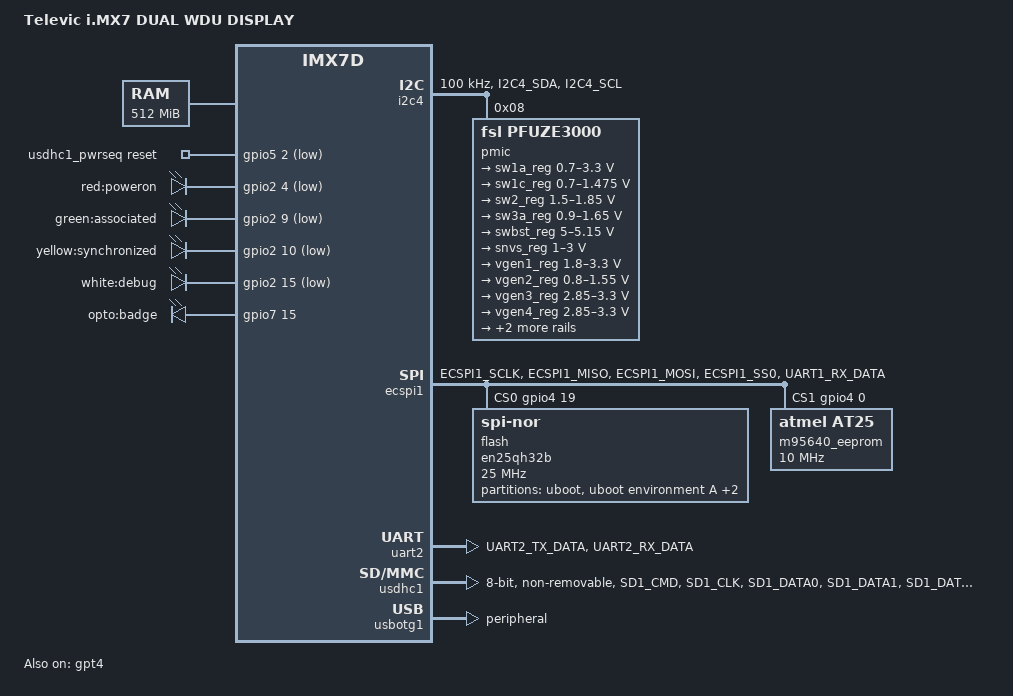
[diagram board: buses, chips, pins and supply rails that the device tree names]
// SPDX-License-Identifier: GPL-2.0+ OR MIT
//
// Copyright (C) 2015 Freescale Semiconductor, Inc.

/dts-v1/;

#include "imx7d.dtsi"
#include <dt-bindings/input/ti-drv260x.h>

/ {
	model = "Televic i.MX7 DUAL WDU DISPLAY";
	compatible = "fsl,imx7d";

	chosen {
		stdout-path = &uart2;
	};

	memory: memory@80000000 {
		reg = <0x80000000 0x20000000>;
	};

	reserved-memory {
		#address-cells = <1>;
		#size-cells = <1>;
		ranges;

		linux,cma {
			compatible = "shared-dma-pool";
			reusable;
			size = <0x04000000>;  /* 64 MB */
			linux,cma-default;
		};
	};

	usdhc1_pwrseq: pwrseq@0 {
		compatible = "mmc-pwrseq-emmc";
		pinctrl-names = "default";
		pinctrl-0 = <&pinctrl_usdhc1_pwrseq>;
		reset-gpios = <&gpio5 2 GPIO_ACTIVE_LOW>;
	};

	gpio-leds {
		compatible = "gpio-leds";
		pinctrl-names = "default";
		pinctrl-0 = <&pinctrl_gpio_leds>;

		led-poweron {
			label = "red:poweron";
			default-state = "on";
			gpios = <&gpio2 4 GPIO_ACTIVE_LOW>;
		};
		led-associated {
			label = "green:associated";
			default-state = "off";
			gpios = <&gpio2 9 GPIO_ACTIVE_LOW>;
		};
		led-synchronized {
			label = "yellow:synchronized";
			default-state = "off";
			gpios = <&gpio2 10 GPIO_ACTIVE_LOW>;
		};
		led-debug {
			label = "white:debug";
			default-state = "off";
			gpios = <&gpio2 15 GPIO_ACTIVE_LOW>;
		};
		led-badge {
			label = "opto:badge";
			default-state = "off";
			gpios = <&gpio7 15 GPIO_ACTIVE_HIGH>;
		};
	};
};

&cpu0 {
	cpu-supply = <&sw1a_reg>;
};

&sdma {
	status = "okay";
};

&i2c4 {
	clock-frequency = <100000>;
	pinctrl-names = "default";
	pinctrl-0 = <&pinctrl_i2c4>;
	status = "okay";

	pmic: pfuze3000@8 {
		compatible = "fsl,pfuze3000";
		reg = <0x8>;

		regulators {
			sw1a_reg: sw1a {
				regulator-min-microvolt = <700000>;
				regulator-max-microvolt = <3300000>;
				regulator-boot-on;
				regulator-always-on;
				regulator-ramp-delay = <6250>;
			};

			/* use sw1c_reg to align with pfuze100/pfuze200 */
			sw1c_reg: sw1b {
				regulator-min-microvolt = <700000>;
				regulator-max-microvolt = <1475000>;
				regulator-boot-on;
				regulator-always-on;
				regulator-ramp-delay = <6250>;
			};

			sw2_reg: sw2 {
				regulator-min-microvolt = <1500000>;
				regulator-max-microvolt = <1850000>;
				regulator-boot-on;
				regulator-always-on;
			};

			sw3a_reg: sw3 {
				regulator-min-microvolt = <900000>;
				regulator-max-microvolt = <1650000>;
				regulator-boot-on;
				regulator-always-on;
			};

			swbst_reg: swbst {
				regulator-min-microvolt = <5000000>;
				regulator-max-microvolt = <5150000>;
			};

			snvs_reg: vsnvs {
				regulator-min-microvolt = <1000000>;
				regulator-max-microvolt = <3000000>;
				regulator-boot-on;
				regulator-always-on;
			};

			vref_reg: vrefddr {
				regulator-boot-on;
				regulator-always-on;
			};

			vgen1_reg: vldo1 {
				regulator-min-microvolt = <1800000>;
				regulator-max-microvolt = <3300000>;
				regulator-always-on;
			};

			vgen2_reg: vldo2 {
				regulator-min-microvolt = <800000>;
				regulator-max-microvolt = <1550000>;
			};

			vgen3_reg: vccsd {
				regulator-min-microvolt = <2850000>;
				regulator-max-microvolt = <3300000>;
				regulator-always-on;
			};

			vgen4_reg: v33 {
				regulator-min-microvolt = <2850000>;
				regulator-max-microvolt = <3300000>;
				regulator-always-on;
			};

			vgen5_reg: vldo3 {
				regulator-min-microvolt = <1800000>;
				regulator-max-microvolt = <3300000>;
			};

			vgen6_reg: vldo4 {
				regulator-min-microvolt = <2800000>;
				regulator-max-microvolt = <2800000>;
			};
		};
	};
};

&ecspi1 {
	pinctrl-names = "default";
	pinctrl-0 = <&pinctrl_ecspi1 &pinctrl_ecspi1_cs>;
	cs-gpios = <&gpio4 19 GPIO_ACTIVE_HIGH>, <&gpio4 0 GPIO_ACTIVE_HIGH>;
	status = "okay";

	flash: en25qh32b@0 {
		#address-cells = <1>;
		#size-cells = <1>;
		reg = <0>;
		compatible = "jedec,spi-nor";
		spi-max-frequency = <25000000>;

		partition@0 {
			label = "uboot";
			reg = <0x0 0x60000>;
		};

		partition@60000 {
			label = "uboot environment A";
			reg = <0x60000 0x10000>;
		};

		partition@70000 {
			label = "uboot environment B";
			reg = <0x70000 0x10000>;
		};

		partition@80000 {
			label = "linux golden";
			reg = <0x80000 0x380000>;
		};
	};

	m95640_eeprom: at25@1 {
		compatible = "atmel,at25", "st,m95256";
		reg = <1>;
		spi-max-frequency = <10000000>;
		address-width = <16>;
		size = <0x2000>; /* 64 kbit = 8kbyte */
		pagesize = <32>;
	};
};

&uart2 {
	pinctrl-names = "default";
	pinctrl-0 = <&pinctrl_uart2>;
	assigned-clocks = <&clks IMX7D_UART2_ROOT_SRC>;
	assigned-clock-parents = <&clks IMX7D_OSC_24M_CLK>;
	status = "okay";
};

&usdhc1 {
	pinctrl-names = "default";
	pinctrl-0 = <&pinctrl_usdhc1_8bit>;
	bus-width = <8>;
	non-removable;
	mmc-pwrseq = <&usdhc1_pwrseq>;
	status = "okay";
};

&usbotg1 {
	dr_mode = "peripheral";
	srp-disable;
	hnp-disable;
	adp-disable;
	status = "okay";
};

&iomuxc {
	imx7d-sdb {
		pinctrl_gpio_leds: gpioledgrp {
			fsl,pins = <
				MX7D_PAD_EPDC_DATA04__GPIO2_IO4		0x04    /* LED Red    */
				MX7D_PAD_EPDC_DATA09__GPIO2_IO9		0x04    /* LED Green  */
				MX7D_PAD_EPDC_DATA10__GPIO2_IO10	0x04    /* LED Yellow */
				MX7D_PAD_EPDC_DATA15__GPIO2_IO15	0x04    /* LED White  */
				MX7D_PAD_ENET1_COL__GPIO7_IO15		0x00    /* LED Opto Badge */
			>;
		};

		pinctrl_i2c4: i2c4grp {
			fsl,pins = <
				MX7D_PAD_I2C4_SDA__I2C4_SDA		0x4000007f
				MX7D_PAD_I2C4_SCL__I2C4_SCL		0x4000007f
			>;
		};

		pinctrl_ecspi1: ecspi1grp-1 {
			fsl,pins = <
				MX7D_PAD_ECSPI1_SCLK__ECSPI1_SCLK	0x02
				MX7D_PAD_ECSPI1_MISO__ECSPI1_MISO	0x02
				MX7D_PAD_ECSPI1_MOSI__ECSPI1_MOSI	0x02
			>;
		};

		pinctrl_ecspi1_cs: ecspi1_cs_grp-1 {
			fsl,pins = <
				MX7D_PAD_ECSPI1_SS0__GPIO4_IO19		0x80000000
				MX7D_PAD_UART1_RX_DATA__GPIO4_IO0	0x80000000
			>;
		};

		pinctrl_uart2: uart2grp {
			fsl,pins = <
				MX7D_PAD_UART2_TX_DATA__UART2_DCE_TX	0x79
				MX7D_PAD_UART2_RX_DATA__UART2_DCE_RX	0x79
			>;
		};

		pinctrl_usdhc1_8bit: usdhc1grp_8bit {
			fsl,pins = <
				MX7D_PAD_SD1_CMD__SD1_CMD		0x59
				MX7D_PAD_SD1_CLK__SD1_CLK		0x19
				MX7D_PAD_SD1_DATA0__SD1_DATA0		0x59
				MX7D_PAD_SD1_DATA1__SD1_DATA1		0x59
				MX7D_PAD_SD1_DATA2__SD1_DATA2		0x59
				MX7D_PAD_SD1_DATA3__SD1_DATA3		0x59
				MX7D_PAD_ECSPI2_SCLK__SD1_DATA4		0x59
				MX7D_PAD_ECSPI2_MOSI__SD1_DATA5		0x59
				MX7D_PAD_ECSPI2_MISO__SD1_DATA6		0x59
				MX7D_PAD_ECSPI2_SS0__SD1_DATA7		0x59
			>;
		};

		pinctrl_usdhc1_pwrseq: usdhc1_pwrseq {
			fsl,pins = <
				MX7D_PAD_SD1_RESET_B__GPIO5_IO2		0x59 /* EMMC_nRST */
			>;
		};

		pinctrl_gpt4: gpt4grp {
			fsl,pins = <
				MX7D_PAD_SD2_DATA2__GPT4_COMPARE2	0x02
				MX7D_PAD_EPDC_DATA02__GPIO2_IO2		0x02
				MX7D_PAD_EPDC_DATA03__GPIO2_IO3		0x02
			>;
		};
	};
};

&clks {
	assigned-clocks = <&clks IMX7D_PLL_AUDIO_POST_DIV>;
	assigned-clock-rates = <864000000>;
};

&gpt4 {
	compatible = "g4-timer-main";
	pinctrl-names = "default";
	pinctrl-0 = <&pinctrl_gpt4>;
	assigned-clocks = <&clks IMX7D_GPT4_ROOT_SRC>, <&clks IMX7D_GPT4_ROOT_CLK>;
	assigned-clock-parents = <&clks IMX7D_PLL_AUDIO_POST_DIV>;
	assigned-clock-rates = <0>, <12000000>;
	irq-gpio = <&gpio2 2 GPIO_ACTIVE_HIGH>;
	tasklet-gpio = <&gpio2 3 GPIO_ACTIVE_HIGH>;
	status = "okay";
};
